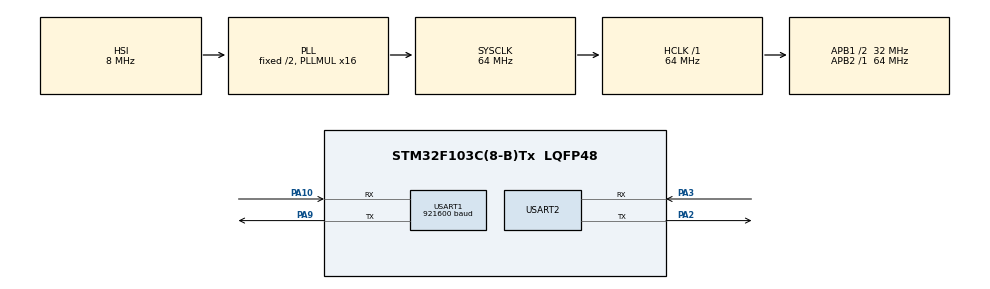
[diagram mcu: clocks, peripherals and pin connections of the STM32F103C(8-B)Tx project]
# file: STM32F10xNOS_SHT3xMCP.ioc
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Dma.Request0=USART2_RX
Dma.USART2_RX.0.Direction=DMA_PERIPH_TO_MEMORY
Dma.USART2_RX.0.Instance=DMA1_Channel6
Dma.USART2_RX.0.MemDataAlignment=DMA_MDATAALIGN_BYTE
Dma.USART2_RX.0.MemInc=DMA_MINC_ENABLE
Dma.USART2_RX.0.Mode=DMA_NORMAL
Dma.USART2_RX.0.PeriphDataAlignment=DMA_PDATAALIGN_BYTE
Dma.USART2_RX.0.PeriphInc=DMA_PINC_DISABLE
Dma.USART2_RX.0.Priority=DMA_PRIORITY_LOW
Mcu.Family=STM32F1
Mcu.Name=STM32F103C(8-B)Tx
Mcu.Package=LQFP48
NVIC.DMA1_Channel6_IRQn=true\:0\:0\:false\:false\:true\:false\:true\:true
NVIC.PriorityGroup=NVIC_PRIORITYGROUP_4
NVIC.USART2_IRQn=true\:0\:0\:false\:false\:true\:true\:true\:true
PA10.Mode=Asynchronous
PA10.Signal=USART1_RX
PA13.Mode=Serial_Wire
PA13.Signal=SYS_JTMS-SWDIO
PA14.Mode=Serial_Wire
PA14.Signal=SYS_JTCK-SWCLK
PA2.Mode=Asynchronous
PA2.Signal=USART2_TX
PA3.Mode=Asynchronous
PA3.Signal=USART2_RX
PA9.Mode=Asynchronous
PA9.Signal=USART1_TX
ProjectManager.HeapSize=0x200
ProjectManager.StackSize=0x400
ProjectManager.TargetToolchain=CMake
RCC.AHBFreq_Value=64000000
RCC.APB1CLKDivider=RCC_HCLK_DIV2
RCC.APB1Freq_Value=32000000
RCC.APB1TimFreq_Value=64000000
RCC.APB2Freq_Value=64000000
RCC.APB2TimFreq_Value=64000000
RCC.HCLKFreq_Value=64000000
RCC.PLLMUL=RCC_PLL_MUL16
RCC.SYSCLKFreq_VALUE=64000000
RCC.SYSCLKSource=RCC_SYSCLKSOURCE_PLLCLK
RCC.USBFreq_Value=64000000
USART1.BaudRate=921600
USART1.VirtualMode=VM_ASYNC
USART2.VirtualMode=VM_ASYNC
board=custom

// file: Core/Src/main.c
/* USER CODE BEGIN Header */
/**
 ******************************************************************************
 * @file           : main.c
 * @brief          : Main program body
 ******************************************************************************
 * @attention
 *
 * Copyright (c) 2025 STMicroelectronics.
 * All rights reserved.
 *
 * This software is licensed under terms that can be found in the LICENSE file
 * in the root directory of this software component.
 * If no LICENSE file comes with this software, it is provided AS-IS.
 *
 ******************************************************************************
 */
/* USER CODE END Header */
#include "main.h"
#include "cJSON.h"
#include "dma.h"
#include "gpio.h"
#include "log.h"
#include "stm32f1xx_hal.h"
#include "system_stm32f1xx.h"
#include "usart.h"

/* USER CODE BEGIN Includes */
#include "bsp_sht30.h"
#include "emMCP.h"
#include <stdint.h>
#include <stdio.h>
#include <stdlib.h>
#include <string.h>
#include <sys/_intsup.h>
/* USER CODE END Includes */

/* USER CODE BEGIN PD */
#define UART_RXBUFF_MAX 256
/* USER CODE END PD */

/* USER CODE BEGIN PM */
emMCP_t emMCP;
emMCP_tool_t SHT3X_tool;
uint8_t rxBuffer[UART_RXBUFF_MAX] = {0};
/* USER CODE END PM */

/* USER CODE BEGIN PV */
void HAL_UARTEx_RxEventCallback(UART_HandleTypeDef *huart, uint16_t Size) {
  if (huart == &huart2) {
    uartPortRecvData((char *)rxBuffer, Size);
    HAL_UARTEx_ReceiveToIdle_DMA(&huart2, rxBuffer, UART_RXBUFF_MAX);
    __HAL_DMA_DISABLE_IT(&hdma_usart2_rx, DMA_IT_HT);
  }
}

/* USER CODE END PV */

void SystemClock_Config(void);
/* USER CODE BEGIN PFP */
void SHT3X_CheckRequestHandler(void *arg) {

  char ret = SHT30_Read(0x2c06);
  if (ret != 0) {
    log_error("SHT30_Read error %d", ret);
    emMCP_ResponseValue(emMCP_CTRL_ERROR);
    return;
  }

  char *sht30_str = malloc(64);
  memset(sht30_str, 0, 64);
  sprintf(sht30_str, "{\"temperature\":%d,\"humidity\":%d}",
          (uint8_t)Temperature, (uint8_t)Humidity);
  log_info("sht30_str=%s", sht30_str);
  emMCP_ResponseValue(sht30_str);
  free(sht30_str);
}
/* USER CODE END PFP */

/* Private user code
   ---------------------------------------------------------*/

int main(void) {

  /* MCU Configuration--------------------------------------------------------*/

  /* Reset of all peripherals, Initializes the Flash interface and the Systick.
   */
  HAL_Init();

  /* Configure the system clock */
  SystemClock_Config();
  SystemInit();

  /* Initialize all configured peripherals */
  MX_GPIO_Init();
  SHT30_GPIO_Init();
  MX_DMA_Init();
  MX_USART1_UART_Init();
  MX_USART2_UART_Init();
  /* USER CODE BEGIN 2 */
  HAL_UARTEx_ReceiveToIdle_DMA(&huart2, rxBuffer, UART_RXBUFF_MAX);
  __HAL_DMA_DISABLE_IT(&hdma_usart2_rx, DMA_IT_HT);
  emMCP_Init(&emMCP);
  // 设置音量
  emMCP_SetAiVolume(50);
  /* USER CODE END 2 */
  SHT3X_tool.name = "温湿度传感器";
  SHT3X_tool.description = "用于查询当前温度和湿度";
  SHT3X_tool.inputSchema.properties[0].name = "temperature";
  SHT3X_tool.inputSchema.properties[0].description =
      "当前温度,单位摄氏度,查询发送:null";
  SHT3X_tool.inputSchema.properties[0].type = MCP_SERVER_TOOL_TYPE_NUMBER;
  SHT3X_tool.inputSchema.properties[1].name = "huimidity";
  SHT3X_tool.inputSchema.properties[1].description =
      "当前湿度,单位百分比,查询发送:null";
  SHT3X_tool.inputSchema.properties[1].type = MCP_SERVER_TOOL_TYPE_NUMBER;
  SHT3X_tool.checkRequestHandler = SHT3X_CheckRequestHandler;

  emMCP_AddToolToToolList(&SHT3X_tool);
  emMCP_RegistrationTools();
  emMCP_SetAiWakeUp(20);
  /* Infinite loop */
  while (1) {
    char ret = SHT30_Read(0x2c06);
    if (ret != 0) {
      log_error("SHT30_Read error %d", ret);
      HAL_Delay(1000);
      continue;
    }
    char *sht30_str = malloc(64);
    memset(sht30_str, 0, 64);
    sprintf(sht30_str, "{\"temperature\":%d,\"humidity\":%d}",
            (uint8_t)Temperature, (uint8_t)Humidity);
    log_info("sht30_str=%s", sht30_str);
    // emMCP_TickHandle(100);
    HAL_Delay(1000);
    free(sht30_str);
  }
}

void SystemClock_Config(void) {
  RCC_OscInitTypeDef RCC_OscInitStruct = {0};
  RCC_ClkInitTypeDef RCC_ClkInitStruct = {0};

  /** Initializes the RCC Oscillators according to the specified parameters
   * in the RCC_OscInitTypeDef structure.
   */
  RCC_OscInitStruct.OscillatorType = RCC_OSCILLATORTYPE_HSI;
  RCC_OscInitStruct.HSIState = RCC_HSI_ON;
  RCC_OscInitStruct.HSICalibrationValue = RCC_HSICALIBRATION_DEFAULT;
  RCC_OscInitStruct.PLL.PLLState = RCC_PLL_ON;
  RCC_OscInitStruct.PLL.PLLSource = RCC_PLLSOURCE_HSI_DIV2;
  RCC_OscInitStruct.PLL.PLLMUL = RCC_PLL_MUL16;
  if (HAL_RCC_OscConfig(&RCC_OscInitStruct) != HAL_OK) {
    Error_Handler();
  }

  /** Initializes the CPU, AHB and APB buses clocks
   */
  RCC_ClkInitStruct.ClockType = RCC_CLOCKTYPE_HCLK | RCC_CLOCKTYPE_SYSCLK |
                                RCC_CLOCKTYPE_PCLK1 | RCC_CLOCKTYPE_PCLK2;
  RCC_ClkInitStruct.SYSCLKSource = RCC_SYSCLKSOURCE_PLLCLK;
  RCC_ClkInitStruct.AHBCLKDivider = RCC_SYSCLK_DIV1;
  RCC_ClkInitStruct.APB1CLKDivider = RCC_HCLK_DIV2;
  RCC_ClkInitStruct.APB2CLKDivider = RCC_HCLK_DIV1;

  if (HAL_RCC_ClockConfig(&RCC_ClkInitStruct, FLASH_LATENCY_2) != HAL_OK) {
    Error_Handler();
  }
}

void Error_Handler(void) {
  __disable_irq();
  while (1) {
  }
}
#ifdef USE_FULL_ASSERT
/**
 * @brief  Reports the name of the source file and the source line number
 *         where the assert_param error has occurred.
 * @param  file: pointer to the source file name
 * @param  line: assert_param error line source number
 * @retval None
 */
void assert_failed(uint8_t *file, uint32_t line) {
  /* USER CODE BEGIN 6 */
  /* User can add his own implementation to report the file name and line
     number, ex: printf("Wrong parameters value: file %s on line %d\r\n", file,
     line) */
  /* USER CODE END 6 */
}
#endif /* USE_FULL_ASSERT */
